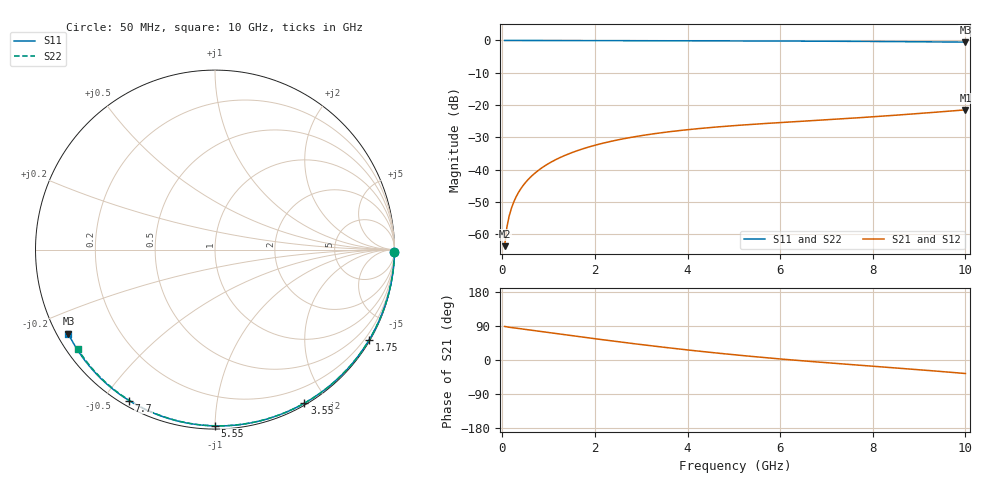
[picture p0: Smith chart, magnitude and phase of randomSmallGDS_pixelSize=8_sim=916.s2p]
! freq	dB(S11)	phase(S11)	dB(S12)	phase(S12)
!  dB(S21)	phase(S21)	dB(S22)	phase(S22)
!S-par simulation data
#  GHz  S  DB  R 50
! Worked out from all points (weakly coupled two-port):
!   200 points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, 50 MHz to 10 GHz, reference 50 ohm
!   highest |S21| = -21.51 dB at 10 GHz (marker M1); lowest = -63.8 dB at 50 MHz (marker M2)
!   lowest |S11| = -0.5 dB at 10 GHz (marker M3), VSWR 33.47, Z = 1.6 - j13.3 ohm
!   |S11| at or under -10 dB: nowhere
!   |S22| runs from -0.5 to 0.0 dB; largest |S21 - S12| = 0
!   S11 on the Smith chart (normalised r, x): 50 MHz: open; 1.75 GHz: 0.03, -3.69; 3.55 GHz: 0.02, -1.74; 5.55 GHz: 0.02, -1.00; 7.7 GHz: 0.02, -0.58; 10 GHz: 0.03, -0.27
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0.05  -0.00 -0.9  -63.76 88.6  -63.76 88.6  -0.00 -0.9
0.1  -0.00 -1.8  -57.80 87.4  -57.80 87.4  -0.00 -1.7
0.15  -0.00 -2.6  -54.34 86.4  -54.34 86.4  -0.00 -2.6
0.2  -0.00 -3.5  -51.89 85.5  -51.89 85.5  -0.00 -3.4
0.25  -0.00 -4.4  -49.98 84.7  -49.98 84.7  -0.00 -4.2
0.35  -0.00 -6.2  -47.11 83.2  -47.11 83.2  -0.00 -5.9
0.5  -0.01 -8.8  -44.05 80.8  -44.05 80.8  -0.01 -8.5
0.7  -0.01 -12.3  -41.17 77.5  -41.17 77.5  -0.01 -11.8
1  -0.02 -17.5  -38.15 72.6  -38.15 72.6  -0.02 -16.8
1.35  -0.03 -23.5  -35.64 66.8  -35.64 66.8  -0.03 -22.6
1.75  -0.04 -30.3  -33.54 60.2  -33.54 60.2  -0.04 -29.2
2.5  -0.06 -42.9  -30.80 48.3  -30.80 48.3  -0.06 -41.3
3.4  -0.08 -57.4  -28.67 34.9  -28.67 34.9  -0.08 -55.4
3.55  -0.09 -59.8  -28.39 32.7  -28.39 32.7  -0.08 -57.7
4.3  -0.11 -71.5  -27.24 22.6  -27.24 22.6  -0.10 -68.9
5.05  -0.13 -82.7  -26.35 13.3  -26.35 13.3  -0.13 -79.7
5.55  -0.15 -89.9  -25.86 7.6  -25.86 7.6  -0.15 -86.7
6.7  -0.21 -106.1  -24.84 -4.3  -24.84 -4.3  -0.21 -102.2
7.7  -0.28 -119.6  -23.95 -13.6  -23.95 -13.6  -0.27 -115.2
8.35  -0.34 -128.3  -23.32 -19.6  -23.32 -19.6  -0.33 -123.4
9.2  -0.42 -139.5  -22.42 -27.6  -22.42 -27.6  -0.41 -134.0
10  -0.52 -150.1  -21.51 -35.6  -21.51 -35.6  -0.50 -143.9
